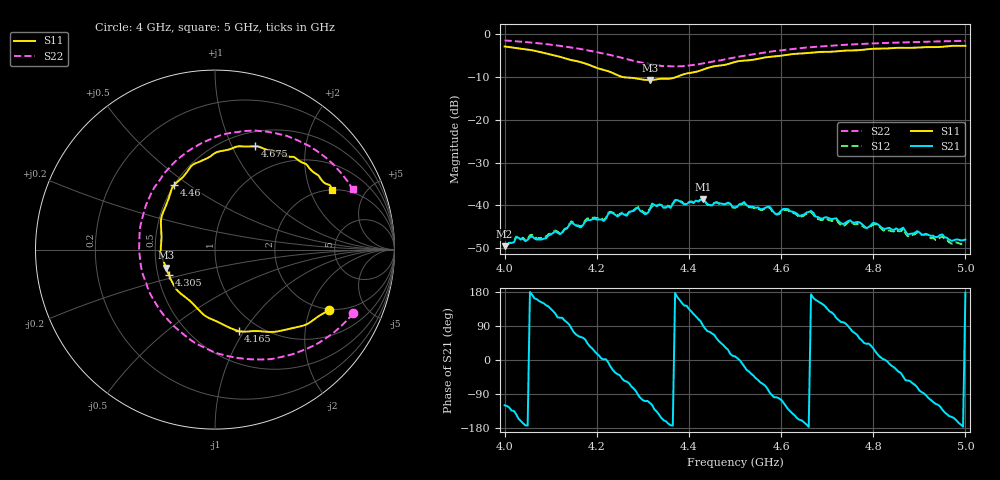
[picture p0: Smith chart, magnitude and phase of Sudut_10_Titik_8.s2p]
# Hz S RI R 50
! CMT, C1220, 16058040, 17.2.0/1
! Date: 15/08/2018 11:39:27
! Data: Format (Calibration Info)
! Freq  S11: Re/Im (F2)  S21: Re/Im (F2)  S12: Re/Im (F2)  S22: Re/Im (F2)
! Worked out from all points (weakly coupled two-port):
!   201 points, 4 GHz to 5 GHz, reference 50 ohm
!   highest |S21| = -38.55 dB at 4.43 GHz (marker M1); lowest = -49.6 dB at 4 GHz (marker M2)
!   lowest |S11| = -10.7 dB at 4.315 GHz (marker M3), VSWR 1.82, Z = 28 - j6.19 ohm
!   |S11| at or under -10 dB: 4.257 GHz to 4.372 GHz (115.7 MHz wide, 2.68 % of centre)
!   |S22| runs from -7.5 to -1.4 dB; largest |S21 - S12| = 0.0009
!   S11 on the Smith chart (normalised r, x): 4 GHz: 1.97, -2.74; 4.165 GHz: 0.81, -0.95; 4.305 GHz: 0.57, -0.18; 4.46 GHz: 0.50, +0.44; 4.675 GHz: 0.66, +1.23; 5 GHz: 1.99, +2.87
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4e9  0.6366 -0.3361  -0.00164 -0.00289  -0.00159 -0.00302  0.7695 -0.3544
4.025e9  0.5833 -0.3671  -0.00337 -0.00255  -0.00336 -0.00266  0.7214 -0.4079
4.12e9  0.2963 -0.4585  -0.00169 0.00425  -0.00176 0.0043  0.4538 -0.5755
4.145e9  0.207 -0.4541  0.000684 0.00625  0.000506 0.00648  0.3605 -0.5998
4.165e9  0.1318 -0.454  0.00269 0.00479  0.00271 0.00492  0.2814 -0.6116
4.17e9  0.1161 -0.4493  0.00303 0.005  0.00298 0.00524  0.2604 -0.6123
4.215e9  -0.0313 -0.3824  0.00655 0.000201  0.00674 0.000295  0.0634 -0.5912
4.23e9  -0.0733 -0.354  0.00783 -0.00253  0.00803 -0.00247  -0.0044 -0.5716
4.265e9  -0.1736 -0.2591  0.00414 -0.00632  0.00419 -0.00642  -0.1537 -0.4896
4.29e9  -0.2332 -0.1908  -0.000452 -0.00931  -0.000404 -0.0095  -0.2485 -0.4057
4.305e9  -0.2574 -0.141  -0.00252 -0.00744  -0.00256 -0.0076  -0.2971 -0.3502
4.315e9  -0.2733 -0.1009  -0.00345 -0.00814  -0.00359 -0.00834  -0.3261 -0.3069
4.335e9  -0.2984 -0.0347  -0.00815 -0.00596  -0.00833 -0.00589  -0.3743 -0.2147
4.43e9  -0.2577 0.2867  -0.000373 0.0118  -0.000112 0.0117  -0.3858 0.2445
4.46e9  -0.2264 0.3615  0.00593 0.0091  0.00605 0.00897  -0.3255 0.3636
4.5e9  -0.142 0.4527  0.00929 0.00157  0.0092 0.0014  -0.2246 0.4873
4.52e9  -0.111 0.4798  0.0104 -0.00319  0.0101 -0.00339  -0.1678 0.535
4.59e9  0.0474 0.5509  -0.00114 -0.00781  -0.00118 -0.00767  0.0412 0.6394
4.67e9  0.214 0.5754  -0.00785 0.00226  -0.00746 0.0023  0.262 0.6589
4.675e9  0.222 0.576  -0.00685 0.00268  -0.00655 0.00266  0.2743 0.6587
4.835e9  0.4809 0.4875  0.00536 -0.000954  0.00498 -0.000829  0.588 0.5345
5e9  0.6522 0.3341  -0.00397 0.000151  -0.00369 -3.6e-05  0.7677 0.335
